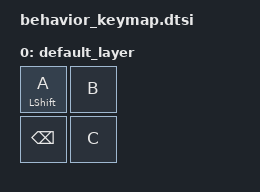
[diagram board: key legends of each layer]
/*
 * Copyright (c) 2024 The ZMK Contributors
 *
 * SPDX-License-Identifier: MIT
 */

#include <dt-bindings/zmk/keys.h>
#include <behaviors.dtsi>
#include <dt-bindings/zmk/kscan_mock.h>

/ {
    behaviors {
        ht_ignore_pos: behavior_hold_tap_ignore_positions {
            compatible = "zmk,behavior-hold-tap";
            #binding-cells = <2>;
            flavor = "balanced";
            tapping-term-ms = <300>;
            quick-tap-ms = <300>;
            require-prior-idle-ms = <100>;
            idle-ignore-key-positions = <2>;  // Position 2 is the backspace key in our layout
            bindings = <&kp>, <&kp>;
        };
    };

    keymap {
        compatible = "zmk,keymap";

        default_layer {
            bindings = <
                &ht_ignore_pos LEFT_SHIFT A &kp B
                &kp BACKSPACE &kp C>;  // BACKSPACE is at position 2 (row 1, col 0)
        };
    };
};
